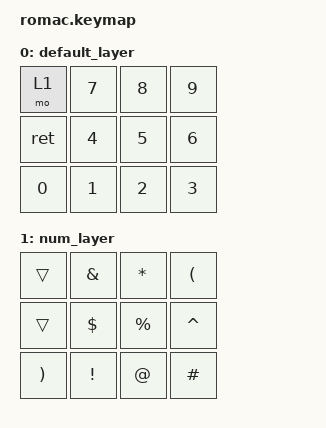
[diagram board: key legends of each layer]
/*
 * Copyright (c) 2020 The ZMK Contributors
 *
 * SPDX-License-Identifier: MIT
 */

#include <behaviors.dtsi>
#include <dt-bindings/zmk/keys.h>
#include <dt-bindings/zmk/bt.h>

/ {
    keymap {
        compatible = "zmk,keymap";

        default_layer {

            bindings = <
    &mo 1 &kp N7   &kp N8 &kp N9
    &kp ret  &kp N4 &kp N5   &kp N6
    &kp N0  &kp N1     &kp N2 &kp N3
            >;

        };

        num_layer {
            bindings = <
    &trans   &kp AMPS &kp STAR &kp LPAR
    &trans   &kp DLLR &kp PRCNT &kp CARET
    &kp RPAR &kp EXCL &kp AT &kp HASH
            >;
        };
    };
};
